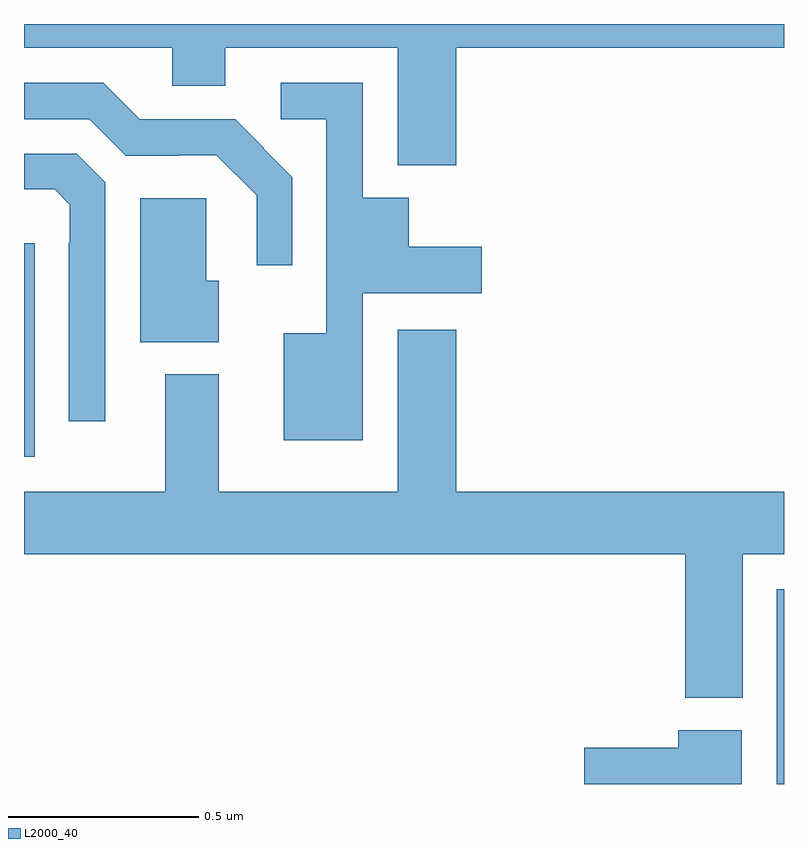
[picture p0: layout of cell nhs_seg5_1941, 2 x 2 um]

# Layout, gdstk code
import gdstk
lib = gdstk.Library(unit=1e-6, precision=1e-09)
def R(c, l, rs):  # rectangles x0, y0, x1, y1
    for r in rs: c.add(gdstk.rectangle(r[:2], r[2:], *l))
def P(c, l, *ps):  # polygons
    for p in ps: c.add(gdstk.Polygon(p, *l))
L2000_40 = (2000, 40)

nhs_seg5_1941 = lib.new_cell('nhs_seg5_1941')
R(nhs_seg5_1941, L2000_40, [(138.981,878.799,139,879.312), (137,879.66,137.028,880.222)])
P(nhs_seg5_1941, L2000_40, [(138.137,880.736),(139,880.736),(139,880.799),(137,880.799),(137,880.736),(137.39,880.736),(137.39,880.637),(137.53,880.637),(137.53,880.736),(137.984,880.736),(137.984,880.427),(138.137,880.427)],
  [(137.892,880.091),(138.205,880.091),(138.205,880.213),(138.013,880.213),(138.013,880.342),(137.892,880.342),(137.892,880.644),(137.676,880.644),(137.676,880.548),(137.796,880.548),(137.796,879.985),(137.684,879.985),(137.684,879.704),(137.892,879.704)],
  [(137.706,880.396),(137.63,880.472),(137.631,880.473),(137.556,880.548),(137.305,880.548),(137.209,880.644),(137,880.644),(137,880.548),(137.172,880.548),(137.268,880.452),(137.404,880.452),(137.404,880.454),(137.506,880.454),(137.612,880.349),(137.612,880.164),(137.706,880.164)],
  [(137.214,880.383),(137.139,880.458),(137,880.458),(137,880.364),(137.081,880.364),(137.121,880.323),(137.121,880.223),(137.118,880.223),(137.118,879.753),(137.214,879.753)],
  [(137.512,880.123),(137.479,880.123),(137.479,880.341),(137.306,880.341),(137.306,879.962),(137.512,879.962)],
  [(138.892,879.404),(139,879.404),(139,879.568),(138.137,879.568),(138.137,879.994),(137.984,879.994),(137.984,879.568),(137.512,879.568),(137.512,879.877),(137.372,879.877),(137.372,879.568),(137,879.568),(137,879.404),(138.74,879.404),(138.74,879.026),(138.892,879.026)],
  [(138.889,878.941),(138.722,878.941),(138.722,878.894),(138.474,878.894),(138.474,878.799),(138.889,878.799)])

lib.write_gds('nhs_seg5_1941.gds')
